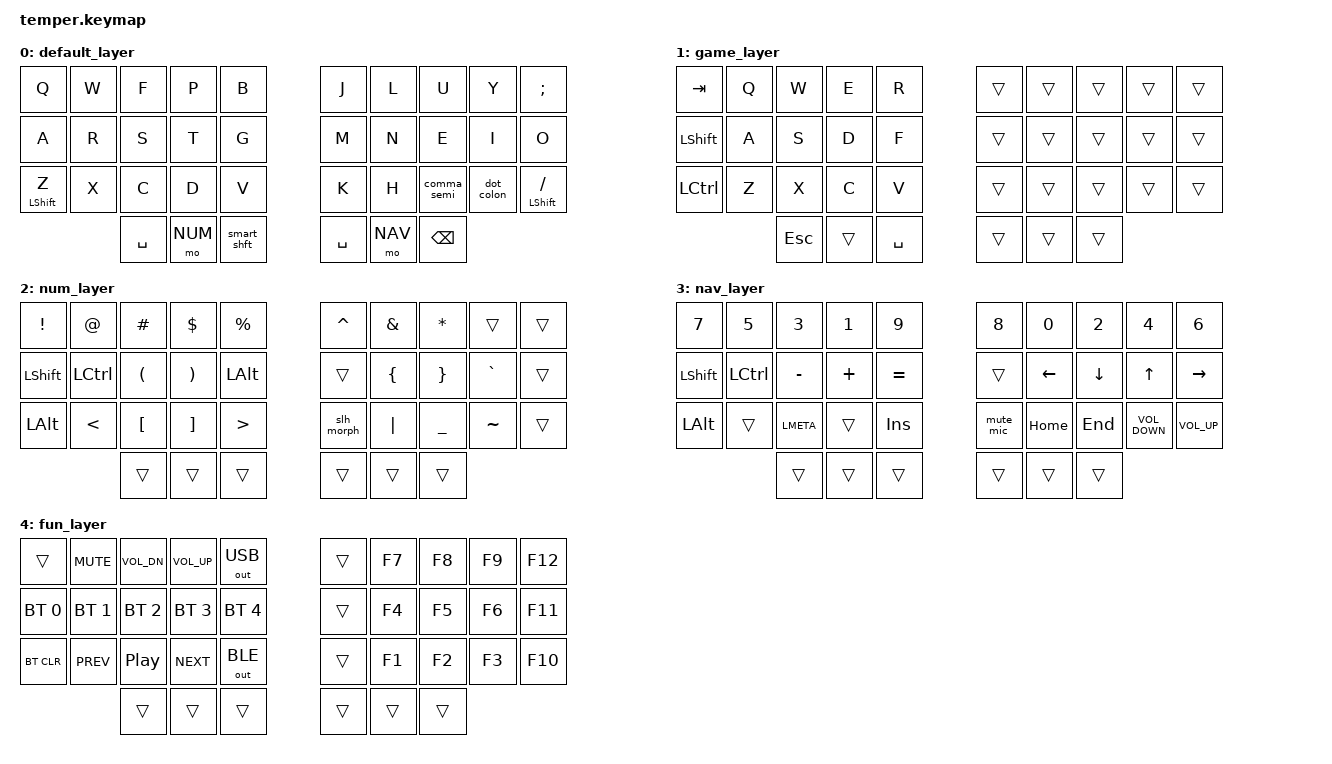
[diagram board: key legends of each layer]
/*
 * Copyright (c) 2020 The ZMK Contributors
 *
 * SPDX-License-Identifier: MIT
 */

#include <behaviors.dtsi>
#include <dt-bindings/zmk/keys.h>
#include <dt-bindings/zmk/bt.h>
#include <dt-bindings/zmk/outputs.h>

#define COMBO_TIMEOUT 40
#define DEFAULT 0
#define GAME 1
#define NUM 2
#define NAV 3
#define FUN 4

# define ______ &trans

/ {
    macros {
        mute_mic: mute_mic {
            compatible = "zmk,behavior-macro";
            #binding-cells = <0>;
            bindings
                = <&macro_press &kp LSHFT &kp LMETA>
                , <&macro_tap &kp M>
                , <&macro_release &kp LSHFT &kp LMETA>
                ;
        };
    };
    combos {
        compatible = "zmk,combos";
        combo_quote {
            timeout-ms = <COMBO_TIMEOUT>;
            key-positions = <5 6>;
            bindings = <&kp SINGLE_QUOTE>;
        };
        combo_esc {
            timeout-ms = <COMBO_TIMEOUT>;
            key-positions = <15 16>;
            bindings = <&kp ESCAPE>;
        };
        combo_right_side_meta {
            timeout-ms = <COMBO_TIMEOUT>;
            key-positions = <16 17>;
            bindings = <&sk LMETA>;
        };
        combo_right_side_ctrl {
            timeout-ms = <COMBO_TIMEOUT>;
            key-positions = <6 7>;
            bindings = <&sk LCTRL>;
        };
        //combo_left_side_ctrl {
          //  timeout-ms = <COMBO_TIMEOUT>;
           // key-positions = <2 3>;
            //bindings = <&sk LCTRL>;
        //};
        combo_left_side_shift {
            timeout-ms = <COMBO_TIMEOUT>;
            key-positions = <2 3>;
            bindings = <&sk LSHIFT>;
        };
        //combo_left_side_shift {
          //  timeout-ms = <COMBO_TIMEOUT>;
           // key-positions = <12 13>;
           // bindings = <&sk LSHIFT>;
        //};
        combo_left_side_escape {
            timeout-ms = <COMBO_TIMEOUT>;
            key-positions = <13 14>;
            bindings = <&kp ESCAPE>;
        };
        combo_right_side_enter {
            timeout-ms = <COMBO_TIMEOUT>;
            key-positions = <26 27>;
            bindings = <&kp ENTER>;
        };
        combo_left_side_tab {
            timeout-ms = <COMBO_TIMEOUT>;
            key-positions = <22 23>;
            bindings = <&kp TAB>;
        };
        combo_left_capslock {
            timeout-ms = <COMBO_TIMEOUT>;
            key-positions = <1 2>;
          //  bindings = <&kp CAPSLOCK>;
            bindings = <&caps_word>;

        };
        combo_right_alt {
            timeout-ms = <COMBO_TIMEOUT>;
            key-positions = <12 14>;
            bindings = <&sk RALT>;
        };
    };
    conditional_layers {
        compatible = "zmk,conditional-layers";
        tri_layer {
            if-layers = <NUM NAV>;
            then-layer = <FUN>;
        };
    };
    behaviors {
        bspc_del: backspace_delete {
            compatible = "zmk,behavior-mod-morph";
            #binding-cells = <0>;
            bindings = <&kp BACKSPACE>, <&kp DELETE>;
            mods = <(MOD_LSFT|MOD_RSFT)>;
            keep-mods = <(MOD_RSFT)>;
        };
        super_bspc: super_backspace {
            compatible = "zmk,behavior-mod-morph";
            #binding-cells = <0>;
            bindings = <&kp BACKSPACE>, <&kp LA(BACKSPACE)>;
            mods = <(MOD_LSFT|MOD_RSFT)>;
        };
        smart_shft: smart_shift {
            compatible = "zmk,behavior-mod-morph";
            #binding-cells = <0>;
            bindings = <&kp LSHFT>, <&caps_word>;
            mods = <(MOD_LSFT)>;
        };
        comma_semi: comma_semi {
            compatible = "zmk,behavior-mod-morph";
            #binding-cells = <0>;
            bindings = <&kp COMMA>, <&kp SEMI>;
            mods = <(MOD_LSFT)>;
        };
        dot_colon: dot_colon {
            compatible = "zmk,behavior-mod-morph";
            #binding-cells = <0>;
            bindings = <&kp DOT>, <&kp COLON>;
            mods = <(MOD_LSFT)>;
        };
        qmrk_excl: qmrk_excl {
            compatible = "zmk,behavior-mod-morph";
            #binding-cells = <0>;
            bindings = <&kp QMARK>, <&kp EXCL>;
            mods = <(MOD_LSFT)>;
        };
        slh_morph: slh_morph {
            compatible = "zmk,behavior-mod-morph";
            #binding-cells = <0>;
            bindings = <&kp FSLH>, <&kp BSLH>;
            mods = <(MOD_LSFT)>;
        };
        amps_morph: amps_morph {
            compatible = "zmk,behavior-mod-morph";
            #binding-cells = <0>;
            bindings = <&kp AMPS>, <&kp PIPE>;
            mods = <(MOD_LSFT)>;
        };
    };
        keymap {
                compatible = "zmk,keymap";

                default_layer {
                        bindings = <
// ╭─────────────┬─────────────┬─────────────┬─────────────┬─────────────╮   ╭─────────────┬─────────────┬─────────────┬─────────────┬─────────────╮
        &kp Q         &kp W         &kp F         &kp P         &kp B             &kp J         &kp L         &kp U         &kp Y       &kp SEMICOLON   
// ├─────────────┼─────────────┼─────────────┼─────────────┼─────────────┤   ├─────────────┼─────────────┼─────────────┼─────────────┼─────────────┤
        &kp A         &kp R         &kp S         &kp T         &kp G             &kp M         &kp N         &kp E         &kp I         &kp O
// ├─────────────┼─────────────┼─────────────┼─────────────┼─────────────┤   ├─────────────┼─────────────┼─────────────┼─────────────┼─────────────┤
        &mt LSHIFT Z  &kp X         &kp C         &kp D         &kp V             &kp K         &kp H      &comma_semi    &dot_colon    &mt LSHIFT SLASH
// ╰─────────────┴─────────────┼─────────────┼─────────────┼─────────────┤   ├─────────────┼─────────────┼─────────────┼─────────────┴─────────────╯
                                   &kp SPACE      &mo NUM     &smart_shft        &kp SPACE      &mo NAV     &kp BSPC
//                             ╰─────────────┴─────────────┴─────────────╯   ╰─────────────┴─────────────┴─────────────╯
                        >;
                };
                game_layer {
                        bindings = <
// ╭─────────────┬─────────────┬─────────────┬─────────────┬─────────────╮   ╭─────────────┬─────────────┬─────────────┬─────────────┬─────────────╮
        &kp TAB       &kp Q         &kp W         &kp E         &kp R              ______       ______        ______        ______        ______  
// ├─────────────┼─────────────┼─────────────┼─────────────┼─────────────┤   ├─────────────┼─────────────┼─────────────┼─────────────┼─────────────┤
       &kp LSHFT      &kp A         &kp S         &kp D         &kp F              ______       ______        ______        ______        ______
// ├─────────────┼─────────────┼─────────────┼─────────────┼─────────────┤   ├─────────────┼─────────────┼─────────────┼─────────────┼─────────────┤
       &kp LCTRL      &kp Z         &kp X         &kp C         &kp V              ______       ______        ______        ______        ______
// ╰─────────────┴─────────────┼─────────────┼─────────────┼─────────────┤   ├─────────────┼─────────────┼─────────────┼─────────────┴─────────────╯
                                    &kp ESC       ______      &kp SPACE            ______       ______        ______
//                             ╰─────────────┴─────────────┴─────────────╯   ╰─────────────┴─────────────┴─────────────╯
                        >;
                };
                num_layer {
                        bindings = <
// ╭─────────────┬─────────────┬─────────────┬─────────────┬─────────────╮   ╭─────────────┬─────────────┬─────────────┬─────────────┬─────────────╮
    &kp EXCLAMATION  &kp AT       &kp HASH      &kp DOLLAR     &kp PRCNT          &kp CARET       &kp AMPS        &kp STAR      ______     ______
// ├─────────────┼─────────────┼─────────────┼─────────────┼─────────────┤   ├─────────────┼─────────────┼─────────────┼─────────────┼─────────────┤
      &kp LSHIFT      &kp LCTRL      &kp LPAR      &kp RPAR      &kp LALT        ______     &kp LBRC      &kp RBRC       &kp GRAVE     ______
// ├─────────────┼─────────────┼─────────────┼─────────────┼─────────────┤   ├─────────────┼─────────────┼─────────────┼─────────────┼─────────────┤
      &kp LALT     &kp LT       &kp LBKT      &kp RBKT       &kp GT          &slh_morph      &kp PIPE       &kp UNDER        &kp TILDE      ______
// ╰─────────────┴─────────────┼─────────────┼─────────────┼─────────────┤   ├─────────────┼─────────────┼─────────────┼─────────────┴─────────────╯
                                    ______        ______        ______            ______        ______        ______
//                             ╰─────────────┴─────────────┴─────────────╯   ╰─────────────┴─────────────┴─────────────╯
                        >;
                };

                nav_layer {
                        bindings = <
// ╭─────────────┬─────────────┬─────────────┬─────────────┬─────────────╮   ╭─────────────┬─────────────┬─────────────┬─────────────┬─────────────╮
      &kp N7        &kp N5        &kp N3       &kp N1        &kp N9             &kp N8       &kp N0       &kp N2        &kp N4       &kp N6
// ├─────────────┼─────────────┼─────────────┼─────────────┼─────────────┤   ├─────────────┼─────────────┼─────────────┼─────────────┼─────────────┤
      &kp LSHIFT     &kp LCTRL      &kp MINUS      &kp PLUS       &kp EQUAL           ______      &kp LEFT       &kp DOWN      &kp UP       &kp RIGHT
// ├─────────────┼─────────────┼─────────────┼─────────────┼─────────────┤   ├─────────────┼─────────────┼─────────────┼─────────────┼─────────────┤
        &kp LALT    ______         &kp LMETA        ______      &kp INSERT            &mute_mic        &kp HOME       &kp END     &kp C_VOLUME_DOWN        &kp C_VOLUME_UP
// ╰─────────────┴─────────────┼─────────────┼─────────────┼─────────────┤   ├─────────────┼─────────────┼─────────────┼─────────────┴─────────────╯
                                    ______        ______        ______            ______        ______        ______
//                             ╰─────────────┴─────────────┴─────────────╯   ╰─────────────┴─────────────┴─────────────╯
                        >;
                };

                fun_layer {
                        bindings = <
// ╭─────────────┬─────────────┬─────────────┬─────────────┬─────────────╮   ╭─────────────┬─────────────┬─────────────┬─────────────┬─────────────╮
      ______    &kp K_MUTE    &kp C_VOL_DN  &kp C_VOL_UP  &out OUT_USB         ______        &kp F7        &kp F8        &kp F9       &kp F12
// ├─────────────┼─────────────┼─────────────┼─────────────┼─────────────┤   ├─────────────┼─────────────┼─────────────┼─────────────┼─────────────┤
     &bt BT_SEL 0  &bt BT_SEL 1  &bt BT_SEL 2  &bt BT_SEL 3  &bt BT_SEL 4         ______        &kp F4        &kp F5        &kp F6       &kp F11
// ├─────────────┼─────────────┼─────────────┼─────────────┼─────────────┤   ├─────────────┼─────────────┼─────────────┼─────────────┼─────────────┤
      &bt BT_CLR    &kp C_PREV     &kp C_PP     &kp C_NEXT   &out OUT_BLE         ______        &kp F1        &kp F2        &kp F3       &kp F10
// ╰─────────────┴─────────────┼─────────────┼─────────────┼─────────────┤   ├─────────────┼─────────────┼─────────────┼─────────────┴─────────────╯
                                    ______        ______        ______            ______        ______        ______
//                             ╰─────────────┴─────────────┴─────────────╯   ╰─────────────┴─────────────┴─────────────╯
                        >;
                };
        };
};
